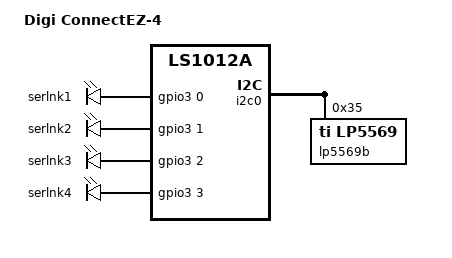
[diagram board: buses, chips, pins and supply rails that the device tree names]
// SPDX-License-Identifier: (GPL-2.0+ OR MIT)
/*
 * Device Tree Include file for Digi ConnectEZ-4.
 *
 * Copyright 2016 Freescale Semiconductor, Inc.
 * Copyright 2018 Digi Inc.
 *
 * Mingkai Hu <mingkai.hu@nxp.com>
 * Greg Ungerer <gregory.ungerer@digi.com>
 */

/dts-v1/;
#include "connectez-base.dtsi"

/ {
	model = "Digi ConnectEZ-4";
	compatible = "digi,connectez4", "digi,connectez", "fsl,ls1012a";

	leds {
		compatible = "gpio-leds";

		ser1link {
			label = "serlnk1";
			gpios = <&gpio3 0 GPIO_ACTIVE_HIGH>;
			linux,default-trigger = "none";
			default-state = "off";
		};

		ser2link {
			label = "serlnk2";
			gpios = <&gpio3 1 GPIO_ACTIVE_HIGH>;
			linux,default-trigger = "none";
			default-state = "off";
		};

		ser3link {
			label = "serlnk3";
			gpios = <&gpio3 2 GPIO_ACTIVE_HIGH>;
			linux,default-trigger = "none";
			default-state = "off";
		};

		ser4link {
			label = "serlnk4";
			gpios = <&gpio3 3 GPIO_ACTIVE_HIGH>;
			linux,default-trigger = "none";
			default-state = "off";
		};
	};
};

&i2c0 {
	lp5569b:lp5569@35 {
		compatible = "ti,lp5569";
		reg = <0x35>;
		label = "lp5569b";
		clock-mode = /bits/ 8 <1>;  /* internal */
		#address-cells = <1>;
		#size-cells = <0>;

		chan0 {
			chan-name = "wifib";
			led-cur = /bits/ 8 <0x18>;  /* 2.4mA */
			max-cur = /bits/ 8 <0x18>;  /* 2.4mA */
			color = <LED_COLOR_ID_BLUE>;
			reg = <0>;
			linux,default-trigger = "timer";
		};

		chan1 {
			chan-name = "wifig";
			led-cur = /bits/ 8 <0x03>;  /* 0.3mA */
			max-cur = /bits/ 8 <0x18>;  /* 2.4mA */
			color = <LED_COLOR_ID_GREEN>;
			reg = <1>;
			linux,default-trigger = "timer";
		};

		chan2 {
			chan-name = "wifir";
			led-cur = /bits/ 8 <0x18>;  /* 2.4mA */
			max-cur = /bits/ 8 <0x18>;  /* 2.4mA */
			color = <LED_COLOR_ID_RED>;
			reg = <2>;
			linux,default-trigger = "timer";
		};
	};
};
